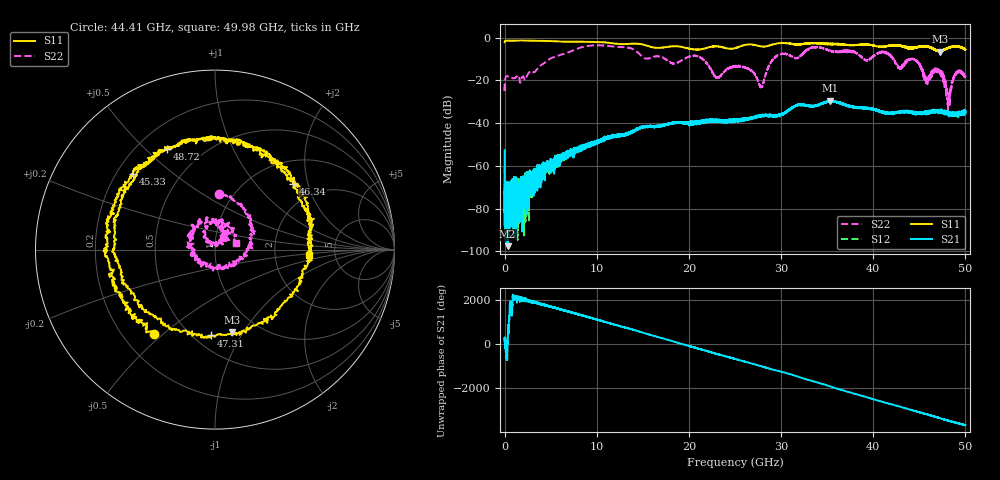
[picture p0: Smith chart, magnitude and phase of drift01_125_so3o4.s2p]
!Created with skrf (http://scikit-rf.org).
# Hz S RI R 50.0
!freq ReS11 ImS11 ReS21 ImS21 ReS12 ImS12 ReS22 ImS22
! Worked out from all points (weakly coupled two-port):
!   10001 points, 300 kHz to 50 GHz, reference 50 ohm
!   highest |S21| = -29.54 dB at 35.35 GHz (marker M1); lowest = -97.6 dB at 320.3 MHz (marker M2)
!   lowest |S11| = -6.6 dB at 47.22 GHz (marker M3), VSWR 2.76, Z = 37.9 - j44.6 ohm
!   |S11| at or under -10 dB: nowhere
!   |S22| runs from -34.2 to -3.6 dB; largest |S21 - S12| = 0.0034
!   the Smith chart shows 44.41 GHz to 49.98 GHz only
!   S11 on the Smith chart (normalised r, x): 44.41 GHz: 0.33, -0.47; 45.33 GHz: 0.27, +0.37; 46.34 GHz: 1.49, +1.62; 47.31 GHz: 0.61, -0.75; 48.72 GHz: 0.32, +0.58; 49.98 GHz: 3.19, -0.28
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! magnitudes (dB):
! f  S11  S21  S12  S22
! 300 kHz  -2.1  -52.7  -60.5  -21.6
! 320.3 MHz  -1.4  -97.6  -74.0  -18.0
! 8.335 GHz  -1.9  -52.6  -51.9  -4.5
! 16.67 GHz  -4.8  -41.3  -41.7  -8.7
! 20.97 GHz  -5.6  -39.1  -39.7  -8.8
! 23.08 GHz  -4.1  -39.1  -39.0  -18.8
! 25 GHz  -5.0  -38.7  -38.7  -13.6
! 27.84 GHz  -4.1  -36.9  -36.7  -23.3
! 29.47 GHz  -2.8  -36.8  -36.7  -8.8
! 33.34 GHz  -2.6  -32.1  -31.9  -4.7
! 35.35 GHz  -3.0  -29.5  -29.9  -6.2
! 41.67 GHz  -3.8  -35.7  -35.2  -7.8
! 42.84 GHz  -4.0  -34.9  -34.7  -14.4
! 44.41 GHz  -4.7  -35.5  -35.2  -10.1
! 45.33 GHz  -4.1  -35.2  -35.2  -15.1
! 46.34 GHz  -4.9  -34.4  -34.8  -16.3
! 47.22 GHz  -6.6  -34.8  -34.2  -16.7
! 47.31 GHz  -6.4  -33.7  -34.5  -15.6
! 48.13 GHz  -4.8  -35.4  -35.0  -30.5
! 48.72 GHz  -4.1  -36.1  -35.9  -18.8
! 49.98 GHz  -5.6  -35.7  -35.4  -18.2
! 50 GHz  -5.5  -34.8  -34.4  -18.3
